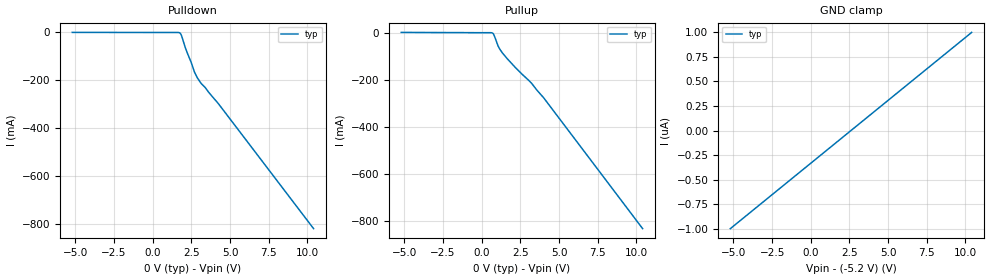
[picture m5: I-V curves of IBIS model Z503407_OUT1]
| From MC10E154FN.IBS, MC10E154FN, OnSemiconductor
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| (C) COPYRIGHT 1993-2000
| MENTOR GRAPHICS CORPORATION
| ICX STANDARD LIBRARY, ICX PROJECT MODELING,
| ICX CUSTOM MODELING, ICX VENDOR MODEL
| ALL RIGHTS RESERVED.
| THE FOLLOWING ARE TRADEMARKS OR SERVICE MARKS OF
| MENTOR GRAPHICS CORPORATION:ICX (R), ICX STANDARD
| LIBRARY(R), ICX PROJECT MODELING(R), ICX CUSTOM
| MODELING(R), qualityIBIS(TM), MODELVIEWER(TM),
| AND MODELEDITOR(TM)
| ALL COPIES OF SOFTWARE, INCLUDING BUT NOT LIMITED TO
| ANY MODIFICATIONS, ENHANCEMENTS OR DERIVATIVE WORKS,
| MUST CONTAIN ALL MENTOR GRAPHICS CORPORATION'S
| NOTICES AND LEGENDS, INCLUDING THOSE EMBEDDED IN
| SOFTWARE AND THOSE AFFIXED TO SOFTWARE MEDIUM
| AND CONTAINER, AS RECEIVED FROM MENTOR GRAPHICS
| CORPORATION.
| Model Application Version 1.89 2/18/99.
[Model] Z503407_OUT1
Model_type Output_ECL
Vref=-2.000V
Rref=50.00ohms
Cref=0.000F
Vmeas=-1.305V
C_comp 8.000pF NA NA
| variable typ   min   max
[Voltage Range] -5.200V NA NA
[POWER Clamp Reference] 0.000V NA NA
[Pullup Reference] 0.000V NA NA
[Pulldown Reference] 0.000V NA NA
[GND Clamp Reference] -5.200V NA NA
[GND Clamp]
-5.2V     -1uA       NA         NA
10.4V     1uA        NA         NA
[Pulldown]
-5.2V     402uA      NA         NA
1.626V    26.56uA    NA         NA
1.782V    -3.006mA   NA         NA
1.884V    -16.79mA   NA         NA
2.109V    -63.4mA    NA         NA
2.486V    -124.6mA   NA         NA
2.7V      -165.3mA   NA         NA
2.876V    -188.6mA   NA         NA
3.126V    -212.8mA   NA         NA
3.388V    -229.8mA   NA         NA
4.253V    -298.5mA   NA         NA
10.4V     -821.2mA   NA         NA
[Pullup]
-5.2V     1.211mA    NA         NA
567.2mV   -50uA      NA         NA
726.2mV   -2.801mA   NA         NA
829.7mV   -15.91mA   NA         NA
1.06V     -56.8mA    NA         NA
1.349V    -86.8mA    NA         NA
2.179V    -147.9mA   NA         NA
3.228V    -214.8mA   NA         NA
3.999V    -275.7mA   NA         NA
10.4V     -830.8mA   NA         NA
[POWER Clamp]
-5.2V     0A         NA         NA
10.4V     0A         NA         NA
[Ramp]
| variable typ min max
dV/dt_r 597.8m/385.5p NA NA
dV/dt_f 597.8m/377.9p NA NA
R_load = 500.0Ohms
